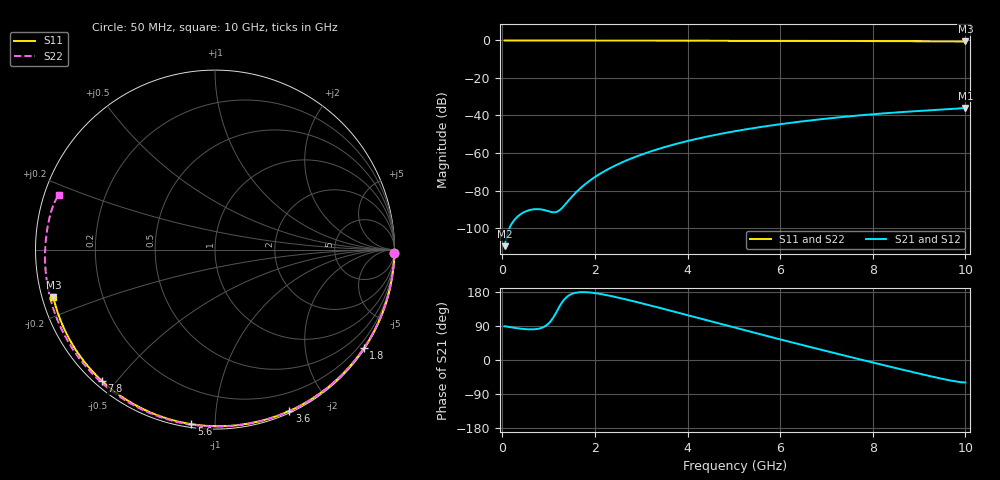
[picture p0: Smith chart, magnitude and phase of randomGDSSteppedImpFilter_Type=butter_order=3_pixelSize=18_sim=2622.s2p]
! freq	dB(S11)	phase(S11)	dB(S12)	phase(S12)
!  dB(S21)	phase(S21)	dB(S22)	phase(S22)
!S-par simulation data
#  GHz  S  DB  R 50
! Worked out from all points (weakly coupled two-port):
!   200 points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, 50 MHz to 10 GHz, reference 50 ohm
!   highest |S21| = -35.97 dB at 10 GHz (marker M1); lowest = -109.7 dB at 50 MHz (marker M2)
!   lowest |S11| = -0.5 dB at 10 GHz (marker M3), VSWR 31.84, Z = 1.6 - j7.23 ohm
!   |S11| at or under -10 dB: nowhere
!   |S22| runs from -0.7 to 0.0 dB; largest |S21 - S12| = 0
!   S11 on the Smith chart (normalised r, x): 50 MHz: open; 1.8 GHz: 0.03, -3.31; 3.6 GHz: 0.02, -1.56; 5.6 GHz: 0.02, -0.87; 7.8 GHz: 0.02, -0.46; 10 GHz: 0.03, -0.14
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0.05  -0.00 -1.0  -109.67 89.0  -109.67 89.0  -0.00 -1.2
0.4  -0.01 -7.6  -92.54 82.6  -92.54 82.6  -0.01 -9.4
0.8  -0.02 -15.1  -89.97 83.1  -89.97 83.1  -0.02 -18.7
1.6  -0.04 -29.9  -80.80 177.8  -80.80 177.8  -0.05 -37.0
1.65  -0.04 -30.8  -79.62 178.6  -79.62 178.6  -0.05 -38.1
1.75  -0.04 -32.7  -77.42 179.2  -77.42 179.2  -0.05 -40.3
1.8  -0.04 -33.6  -76.41 179.0  -76.41 179.0  -0.05 -41.4
2.1  -0.05 -39.0  -71.24 174.6  -71.24 174.6  -0.06 -48.1
2.45  -0.06 -45.3  -66.55 166.0  -66.55 166.0  -0.07 -55.7
2.9  -0.07 -53.2  -61.81 153.0  -61.81 153.0  -0.08 -65.3
3.4  -0.08 -61.9  -57.62 137.5  -57.62 137.5  -0.10 -75.7
3.6  -0.09 -65.3  -56.18 131.2  -56.18 131.2  -0.11 -79.7
4.3  -0.11 -77.0  -51.89 108.7  -51.89 108.7  -0.13 -93.6
5.05  -0.14 -89.1  -48.26 84.5  -48.26 84.5  -0.16 -107.8
5.6  -0.16 -97.7  -46.06 67.0  -46.06 67.0  -0.19 -117.9
6.7  -0.22 -114.5  -42.49 32.7  -42.49 32.7  -0.26 -137.6
7.25  -0.26 -122.7  -41.03 15.9  -41.03 15.9  -0.30 -147.3
7.8  -0.31 -130.8  -39.76 -0.7  -39.76 -0.7  -0.35 -157.0
8.35  -0.36 -138.9  -38.66 -17.0  -38.66 -17.0  -0.40 -166.7
9.3  -0.46 -153.0  -37.13 -44.3  -37.13 -44.3  -0.51 175.9
9.75  -0.51 -159.7  -36.43 -55.7  -36.43 -55.7  -0.56 166.9
10  -0.55 -163.5  -35.97 -59.4  -35.97 -59.4  -0.71 160.8
